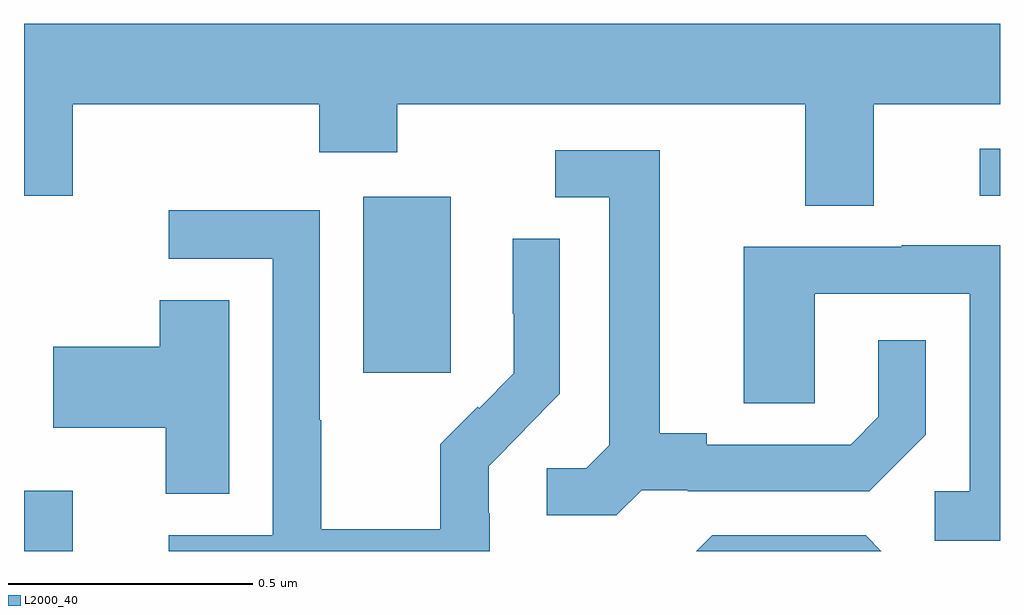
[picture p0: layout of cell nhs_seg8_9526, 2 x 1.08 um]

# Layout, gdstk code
import gdstk
lib = gdstk.Library(unit=1e-6, precision=1e-09)
def R(c, l, rs):  # rectangles x0, y0, x1, y1
    for r in rs: c.add(gdstk.rectangle(r[:2], r[2:], *l))
def P(c, l, *ps):  # polygons
    for p in ps: c.add(gdstk.Polygon(p, *l))
L2000_40 = (2000, 40)

nhs_seg8_9526 = lib.new_cell('nhs_seg8_9526')
R(nhs_seg8_9526, L2000_40, [(237,1132.9,237.1,1133.023), (237.695,1133.265,237.874,1133.626), (238.959,1133.628,239,1133.724)])
P(nhs_seg8_9526, L2000_40, [(238.741,1133.816),(239,1133.816),(239,1133.98),(237,1133.98),(237,1133.628),(237.1,1133.628),(237.1,1133.816),(237.605,1133.816),(237.605,1133.717),(237.765,1133.717),(237.765,1133.816),(238.601,1133.816),(238.601,1133.608),(238.741,1133.608)],
  [(238.266,1133.025),(238.36,1133.025),(238.36,1133.022),(238.732,1133.022),(238.848,1133.138),(238.848,1133.332),(238.751,1133.332),(238.751,1133.175),(238.694,1133.118),(238.399,1133.118),(238.399,1133.141),(238.303,1133.141),(238.303,1133.721),(238.089,1133.721),(238.089,1133.625),(238.199,1133.625),(238.199,1133.117),(238.152,1133.07),(238.071,1133.07),(238.071,1132.973),(238.214,1132.973)],
  [(237.954,1132.977),(237.952,1132.977),(237.952,1133.074),(238.026,1133.148),(238.025,1133.149),(238.098,1133.222),(238.098,1133.54),(238.002,1133.54),(238.002,1133.386),(238.004,1133.386),(238.004,1133.264),(237.933,1133.193),(237.93,1133.196),(237.853,1133.119),(237.853,1132.945),(237.609,1132.945),(237.609,1133.168),(237.606,1133.168),(237.606,1133.598),(237.297,1133.598),(237.297,1133.499),(237.51,1133.499),(237.51,1132.932),(237.297,1132.932),(237.297,1132.9),(237.954,1132.9)],
  [(239,1133.527),(238.799,1133.527),(238.799,1133.523),(238.475,1133.523),(238.475,1133.203),(238.62,1133.203),(238.62,1133.427),(238.938,1133.427),(238.938,1133.022),(238.866,1133.022),(238.866,1132.921),(239,1132.921)],
  [(237.421,1133.414),(237.278,1133.414),(237.278,1133.319),(237.06,1133.319),(237.06,1133.153),(237.29,1133.153),(237.29,1133.017),(237.421,1133.017)],
  [(238.725,1132.932),(238.41,1132.932),(238.378,1132.9),(238.757,1132.9)])

lib.write_gds('nhs_seg8_9526.gds')
